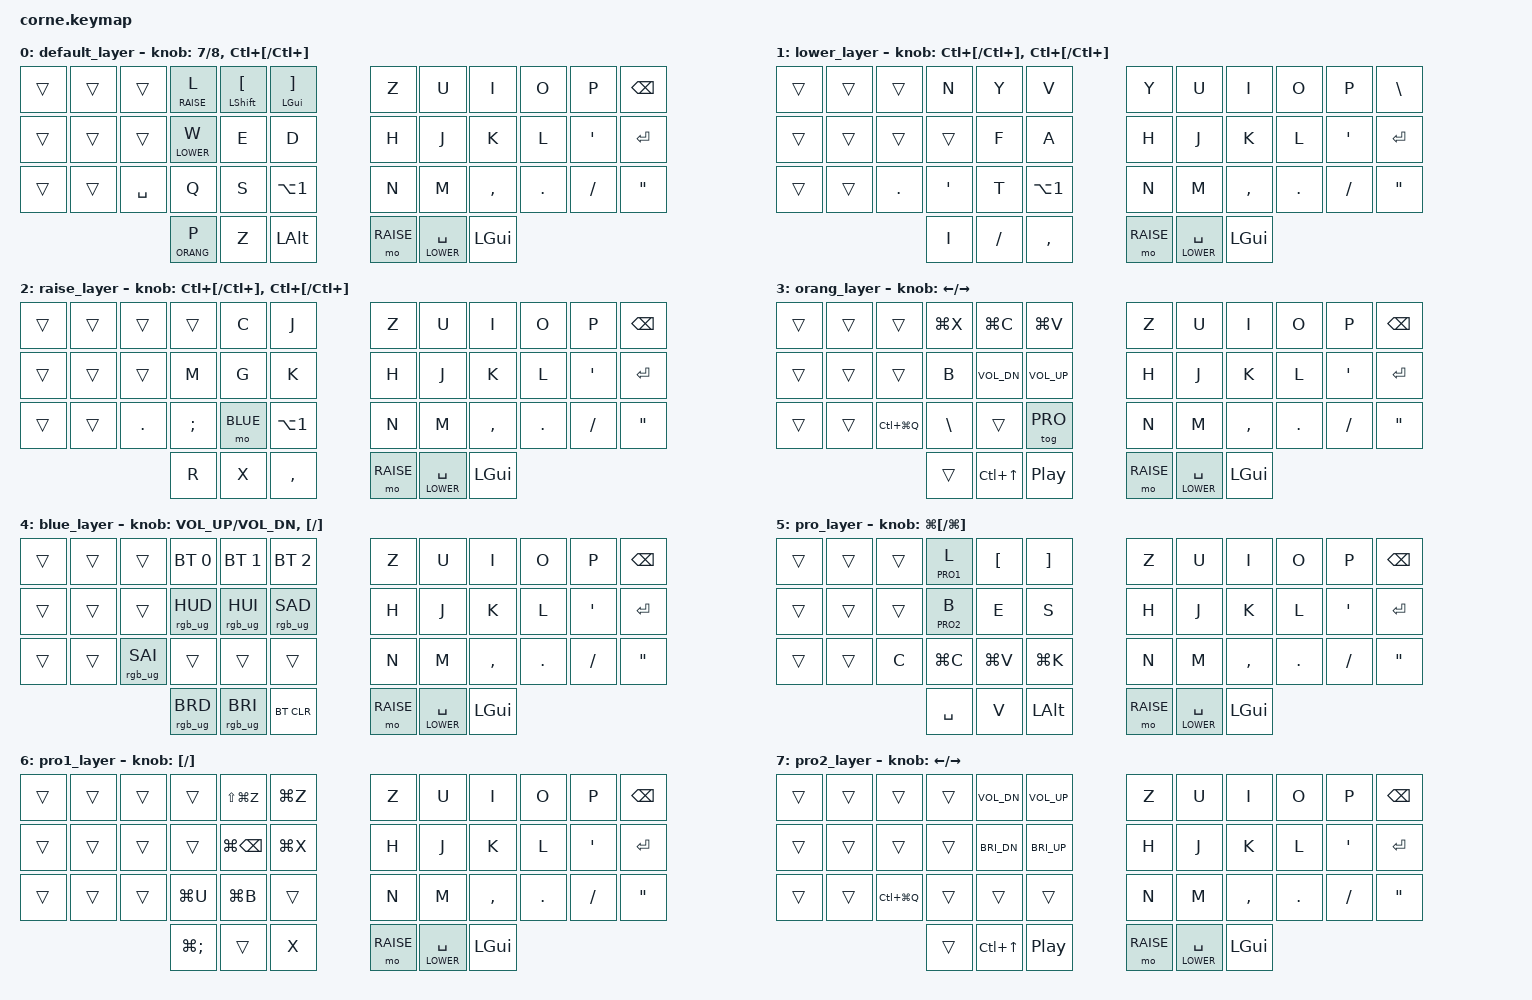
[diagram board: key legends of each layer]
#include <dt-bindings/led/led.h>
#include <behaviors.dtsi>
#include <dt-bindings/zmk/keys.h>
#include <dt-bindings/zmk/bt.h>
#include <dt-bindings/zmk/rgb.h>
#include <dt-bindings/zmk/ext_power.h>
#include <dt-bindings/zmk/outputs.h>


#define DEFAULT 0
#define LOWER   1
#define RAISE   2
#define ORANG   3
#define BLUE    4
#define PRO     5
#define PRO1    6
#define PRO2    7

&left_encoder { resolution = <2>; };
//&left1_encoder { resolution = <4>; };
// &right_encoder { resolution = <1>; };

&mt {
    tapping-term-ms = <130>;
};

&lt {
    tapping-term-ms = <130>;
};

&spi1 {
	compatible = "nordic,nrf-spim";
	status = "okay";
	mosi-pin = <6>;
	// Unused pins, needed for SPI definition, but not used by the ws2812 driver itself.
	sck-pin = <5>;
	miso-pin = <7>;

	led_strip: ws2812@0 {
		compatible = "worldsemi,ws2812-spi";
		label = "WS2812";

		/* SPI */
		reg = <0>; /* ignored, but necessary for SPI bindings */
		spi-max-frequency = <4000000>;

		/* WS2812 */
		chain-length = <4>; /* arbitrary; change at will */
		spi-one-frame = <0x70>;
		spi-zero-frame = <0x40>;
                color-mapping = <LED_COLOR_ID_GREEN
                                 LED_COLOR_ID_RED
                                 LED_COLOR_ID_BLUE>;
	};
};


/ {
        keymap {
                compatible = "zmk,keymap";

                default_layer {
// -----------------------------------------------------------------------------------------
// |  TAB |  Q  |  W  |  E  |  R  |  T  |   |  Y  |  U   |  I  |  O  |  P  | BKSP |
// | CTRL |  A  |  S  |  D  |  F  |  G  |   |  H  |  J   |  K  |  L  |  ;  |  '   |
// | SHFT |  Z  |  X  |  C  |  V  |  B  |   |  N  |  M   |  ,  |  .  |  /  | SHFT |
//                    | GUI | LWR | SPC |   | ENT | RSE  | ALT |
                        bindings = <
   &trans &trans &trans       &lt RAISE L &mt LSHIFT LBKT &mt LGUI RBKT                           &kp Z &kp U  &kp I    &kp O   &kp P    &kp BKSP
   &trans &trans &trans       &lt LOWER W &kp E &kp D                                          &kp H &kp J  &kp K    &kp L   &kp APOS &kp RET
   &trans &trans &kp SPACE    &kp Q &kp S &kp LA(N1)                                     &kp N &kp M  &kp CMMA &kp DOT &kp FSLH &kp DQT
                                &lt ORANG P &kp Z &kp LALT                                     &mo RAISE &lt LOWER SPACE &kp LGUI
                        >;
                        sensor-bindings = <&inc_dec_kp N7 N8 &inc_dec_kp LC(LBKT) LC(RBKT)>;
                };
                lower_layer {
// -----------------------------------------------------------------------------------------
// |  ESC |  1  |  2  |  3  |  4  |  5  |   |  6  |  7  |  8  |  9  |  0  | BKSP |
// | BTCLR| BT1 | BT2 | BT3 | BT4 | BT5 |   | LFT | DWN |  UP | RGT |     |      |
// | SHFT |     |     |     |     |     |   |     |     |     |     |     |      |
//                    | GUI |     | SPC |   | ENT |     | ALT |
                        bindings = <
   &trans &trans &trans     &kp N  &kp Y &kp V                                                &kp Y &kp U  &kp I     &kp O   &kp P    &kp BSLH
   &trans &trans &trans     &trans &kp F &kp A                 &kp H &kp J  &kp K    &kp L   &kp APOS &kp RET
   &trans &trans &kp PERIOD &kp SINGLE_QUOTE &kp T &kp LA(N1)                            &kp N &kp M  &kp CMMA &kp DOT &kp FSLH &kp DQT
                            &kp I &kp SLASH &kp COMMA                       &mo RAISE &lt LOWER SPACE &kp LGUI
                        >;
                        sensor-bindings = <&inc_dec_kp LC(LBKT) LC(RBKT) &inc_dec_kp LC(LBKT) LC(RBKT)>;
                };
                raise_layer {
// -----------------------------------------------------------------------------------------
// |  ESC |  !  |  @  |  #  |  $  |  %  |   |  ^  |  &  |  *  |  (  |  )  | BKSP |
// | CTRL |     |     |     |     |     |   |  -  |  =  |  {  |  }  | "|" |  `   |
// | SHFT |     |     |     |     |     |   |  _  |  +  |  [  |  ]  |  \  |  ~   | // TODO: Fix this row when &mkp is committed
//                    | GUI |     | SPC |   | ENT |     | ALT |
                        bindings = <
   &trans &trans &trans     &trans &kp C  &kp J                  &kp Z &kp U  &kp I    &kp O   &kp P    &kp BKSP
   &trans &trans &trans     &kp M  &kp G  &kp K                 &kp H &kp J  &kp K    &kp L   &kp APOS &kp RET
   &trans &trans &kp PERIOD &kp SEMICOLON  &mo BLUE &kp LA(N1)                            &kp N &kp M  &kp CMMA &kp DOT &kp FSLH &kp DQT
                            &kp R &kp X &kp COMMA                      &mo RAISE &lt LOWER SPACE &kp LGUI
                        >;
                        sensor-bindings = <&inc_dec_kp LC(LBKT) LC(RBKT) &inc_dec_kp LC(LBKT) LC(RBKT)>;
                };
                orang_layer {
// -----------------------------------------------------------------------------------------
// |  ESC |  !  |  @  |  #  |  $  |  %  |   |  ^  |  &  |  *  |  (  |  )  | BKSP |
// | CTRL |     |     |     |     |     |   |  -  |  =  |  {  |  }  | "|" |  `   |
// | SHFT |     |     |     |     |     |   |  _  |  +  |  [  |  ]  |  \  |  ~   | // TODO: Fix this row when &mkp is committed
//                    | GUI |     | SPC |   | ENT |     | ALT |
                        bindings = <
   &trans &trans &trans     &kp LG(X) &kp LG(C) &kp LG(V)                   &kp Z &kp U  &kp I    &kp O   &kp P    &kp BKSP
   &trans &trans &trans      &kp B &kp C_VOL_DN &kp C_VOL_UP                  &kp H &kp J  &kp K    &kp L   &kp APOS &kp RET
   &trans &trans &kp LC(LG(Q)) &kp BACKSLASH &trans &tog PRO                            &kp N &kp M  &kp CMMA &kp DOT &kp FSLH &kp DQT
                            &trans &kp LC(UP_ARROW) &kp C_PLAY_PAUSE                      &mo RAISE &lt LOWER SPACE &kp LGUI
                        >;
                        sensor-bindings = <&inc_dec_kp LEFT RIGHT>;
                };
                blue_layer {
// -----------------------------------------------------------------------------------------
// |  ESC |  !  |  @  |  #  |  $  |  %  |   |  ^  |  &  |  *  |  (  |  )  | BKSP |
// | CTRL |     |     |     |     |     |   |  -  |  =  |  {  |  }  | "|" |  `   |
// | SHFT |     |     |     |     |     |   |  _  |  +  |  [  |  ]  |  \  |  ~   | // TODO: Fix this row when &mkp is committed
//                    | GUI |     | SPC |   | ENT |     | ALT |
                        bindings = <
   &trans &trans &trans           &bt BT_SEL 0 &bt BT_SEL 1 &bt BT_SEL 2                  &kp Z &kp U  &kp I    &kp O   &kp P    &kp BKSP
   &trans &trans &trans           &rgb_ug RGB_HUD &rgb_ug RGB_HUI &rgb_ug RGB_SAD                   &kp H &kp J  &kp K    &kp L   &kp APOS &kp RET
   &trans &trans &rgb_ug RGB_SAI  &trans &trans &trans                              &kp N &kp M  &kp CMMA &kp DOT &kp FSLH &kp DQT
                                   &rgb_ug RGB_BRD &rgb_ug RGB_BRI &bt BT_CLR                      &mo RAISE &lt LOWER SPACE &kp LGUI
                        >;
                        sensor-bindings = <&inc_dec_kp C_VOL_UP C_VOL_DN &inc_dec_kp LBKT RBKT>;
                };
                pro_layer {
// -----------------------------------------------------------------------------------------
// |  ESC |  1  |  2  |  3  |  4  |  5  |   |  6  |  7  |  8  |  9  |  0  | BKSP |
// | BTCLR| BT1 | BT2 | BT3 | BT4 | BT5 |   | LFT | DWN |  UP | RGT |     |      |
// | SHFT |     |     |     |     |     |   |     |     |     |     |     |      |
//                    | GUI |     | SPC |   | ENT |     | ALT |
                        bindings = <
   &trans &trans &trans     &lt PRO1 L     &kp LBKT   &kp RBKT                   &kp Z &kp U  &kp I    &kp O   &kp P    &kp BKSP
   &trans &trans &trans     &lt PRO2 B     &kp E      &kp S                 &kp H &kp J  &kp K    &kp L   &kp APOS &kp RET
   &trans &trans &kp C      &kp LG(C)      &kp LG(V)  &kp LG(K)                           &kp N &kp M  &kp CMMA &kp DOT &kp FSLH &kp DQT
                            &kp SPACE &kp V &kp LALT                    &mo RAISE &lt LOWER SPACE &kp LGUI
                        >;
                        sensor-bindings = <&inc_dec_kp LG(LBKT) LG(RBKT)>;
                };
                pro1_layer {
// -----------------------------------------------------------------------------------------
// |  ESC |  1  |  2  |  3  |  4  |  5  |   |  6  |  7  |  8  |  9  |  0  | BKSP |
// | BTCLR| BT1 | BT2 | BT3 | BT4 | BT5 |   | LFT | DWN |  UP | RGT |     |      |
// | SHFT |     |     |     |     |     |   |     |     |     |     |     |      |
//                    | GUI |     | SPC |   | ENT |     | ALT |
                        bindings = <
   &trans &trans &trans     &trans     &kp LS(LG(Z)) &kp LG(Z)                   &kp Z &kp U  &kp I    &kp O   &kp P    &kp BKSP
   &trans &trans &trans     &trans     &kp LG(BACKSPACE) &kp LG(X)                         &kp H &kp J  &kp K    &kp L   &kp APOS &kp RET
   &trans &trans &trans     &kp LG(U)  &kp LG(B)         &trans                            &kp N &kp M  &kp CMMA &kp DOT &kp FSLH &kp DQT
                            &kp LG(SEMICOLON) &trans &kp X                  &mo RAISE &lt LOWER SPACE &kp LGUI
                        >;
                        sensor-bindings = <&inc_dec_kp LBKT RBKT>;
                };
                pro2_layer {
// -----------------------------------------------------------------------------------------
// |  ESC |  1  |  2  |  3  |  4  |  5  |   |  6  |  7  |  8  |  9  |  0  | BKSP |
// | BTCLR| BT1 | BT2 | BT3 | BT4 | BT5 |   | LFT | DWN |  UP | RGT |     |      |
// | SHFT |     |     |     |     |     |   |     |     |     |     |     |      |
//                    | GUI |     | SPC |   | ENT |     | ALT |
                        bindings = <
   &trans &trans &trans     &trans &kp C_VOL_DN &kp C_VOL_UP                   &kp Z &kp U  &kp I    &kp O   &kp P    &kp BKSP
   &trans &trans &trans     &trans &kp C_BRI_DN &kp C_BRI_UP                 &kp H &kp J  &kp K    &kp L   &kp APOS &kp RET
   &trans &trans &kp LC(LG(Q))     &trans    &trans    &trans                            &kp N &kp M  &kp CMMA &kp DOT &kp FSLH &kp DQT
                            &trans  &kp LC(UP_ARROW) &kp C_PLAY_PAUSE                      &mo RAISE &lt LOWER SPACE &kp LGUI
                        >;
                        sensor-bindings = <&inc_dec_kp LEFT RIGHT>;
                };
                
        };
};


